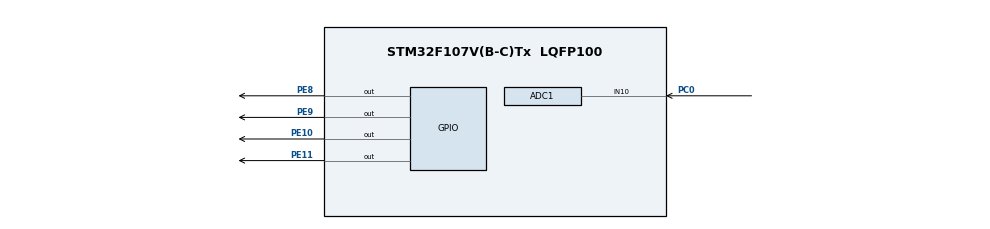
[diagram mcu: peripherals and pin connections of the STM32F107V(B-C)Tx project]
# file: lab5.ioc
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ADC1.Channel-0\#ChannelRegularConversion=ADC_CHANNEL_10
ADC1.NbrOfConversionFlag=1
ADC1.Rank-0\#ChannelRegularConversion=1
ADC1.SamplingTime-0\#ChannelRegularConversion=ADC_SAMPLETIME_1CYCLE_5
ADC1.master=1
Mcu.Family=STM32F1
Mcu.Name=STM32F107V(B-C)Tx
Mcu.Package=LQFP100
NVIC.PriorityGroup=NVIC_PRIORITYGROUP_4
OSC_IN.Mode=HSE-External-Oscillator
OSC_IN.Signal=RCC_OSC_IN
OSC_OUT.Mode=HSE-External-Oscillator
OSC_OUT.Signal=RCC_OSC_OUT
PA13.Mode=Serial_Wire
PA13.Signal=SYS_JTMS-SWDIO
PA14.Mode=Serial_Wire
PA14.Signal=SYS_JTCK-SWCLK
PC0.Signal=ADCx_IN10
PE10.Signal=GPIO_Output
PE11.Signal=GPIO_Output
PE8.Signal=GPIO_Output
PE9.Signal=GPIO_Output
ProjectManager.HeapSize=0x200
ProjectManager.StackSize=0x400
ProjectManager.TargetToolchain=MDK-ARM V5.32
RCC.USBFreq_Value=10666666.666666666
SH.ADCx_IN10.0=ADC1_IN10,IN10
board=custom

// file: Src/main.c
/* USER CODE BEGIN Header */
/**
  ******************************************************************************
  * @file           : main.c
  * @brief          : Main program body
  ******************************************************************************
  * @attention
  *
  * Copyright (c) 2022 STMicroelectronics.
  * All rights reserved.
  *
  * This software is licensed under terms that can be found in the LICENSE file
  * in the root directory of this software component.
  * If no LICENSE file comes with this software, it is provided AS-IS.
  *
  ******************************************************************************
  */
/* USER CODE END Header */
#include "main.h"

ADC_HandleTypeDef hadc1;

void SystemClock_Config(void);
static void MX_GPIO_Init(void);
static void MX_ADC1_Init(void);

int main(void)
{

  /* MCU Configuration--------------------------------------------------------*/

  /* Reset of all peripherals, Initializes the Flash interface and the Systick. */
  HAL_Init();

  /* Configure the system clock */
  SystemClock_Config();

  /* Initialize all configured peripherals */
  MX_GPIO_Init();
  MX_ADC1_Init();
  /* USER CODE BEGIN 2 */

	HAL_ADCEx_Calibration_Start(&hadc1);
	uint32_t value=0;
  /* USER CODE END 2 */

  /* Infinite loop */
  while (1)
  {

    /* USER CODE BEGIN 3 */

		HAL_ADC_Start(&hadc1);
		value=value;
		if(HAL_ADC_PollForConversion(&hadc1,1000)==HAL_OK)
		{

		value=HAL_ADC_GetValue(&hadc1);
		value/=10;

		// KARA SIMSEK

			/*
			if(value>=0x400){
			HAL_GPIO_WritePin(GPIOE,GPIO_PIN_8,GPIO_PIN_SET);
			}else HAL_GPIO_WritePin(GPIOE,GPIO_PIN_8,GPIO_PIN_RESET);
			if(value>=0x800){
			HAL_GPIO_WritePin(GPIOE,GPIO_PIN_9,GPIO_PIN_SET);
			}else HAL_GPIO_WritePin(GPIOE,GPIO_PIN_9,GPIO_PIN_RESET);
			if(value>=0xC00){
			HAL_GPIO_WritePin(GPIOE,GPIO_PIN_10,GPIO_PIN_SET);
			}else HAL_GPIO_WritePin(GPIOE,GPIO_PIN_10,GPIO_PIN_RESET);
			if(value>=0xC99){
			HAL_GPIO_WritePin(GPIOE,GPIO_PIN_11,GPIO_PIN_SET);
			}
			else HAL_GPIO_WritePin(GPIOE,GPIO_PIN_11,GPIO_PIN_RESET);

		*/

				HAL_GPIO_TogglePin(GPIOE, GPIO_PIN_8);
		HAL_Delay(value);
		HAL_GPIO_TogglePin(GPIOE, GPIO_PIN_9);
		HAL_Delay(value);
		HAL_GPIO_TogglePin(GPIOE, GPIO_PIN_10);
		HAL_Delay(value);
				HAL_GPIO_TogglePin(GPIOE, GPIO_PIN_11);
				HAL_Delay(value);
						HAL_GPIO_TogglePin(GPIOE, GPIO_PIN_8);
		HAL_Delay(value);
		HAL_GPIO_TogglePin(GPIOE, GPIO_PIN_9);
		HAL_Delay(value);
		HAL_GPIO_TogglePin(GPIOE, GPIO_PIN_10);
		HAL_Delay(value);
				HAL_GPIO_TogglePin(GPIOE, GPIO_PIN_11);
		HAL_Delay(value);
						HAL_GPIO_TogglePin(GPIOE, GPIO_PIN_11);
		HAL_Delay(value);
		HAL_GPIO_TogglePin(GPIOE, GPIO_PIN_10);
		HAL_Delay(value);
		HAL_GPIO_TogglePin(GPIOE, GPIO_PIN_9);
		HAL_Delay(value);
				HAL_GPIO_TogglePin(GPIOE, GPIO_PIN_8);
				HAL_GPIO_TogglePin(GPIOE, GPIO_PIN_11);
		HAL_Delay(value);
		HAL_GPIO_TogglePin(GPIOE, GPIO_PIN_10);
		HAL_Delay(value);
		HAL_GPIO_TogglePin(GPIOE, GPIO_PIN_9);
		HAL_Delay(value);
				HAL_GPIO_TogglePin(GPIOE, GPIO_PIN_8);
				HAL_Delay(value);

	/*
		if(value>=0x4d9){
		HAL_GPIO_WritePin(GPIOB,GPIO_PIN_10,GPIO_PIN_SET);
		}
		else HAL_GPIO_WritePin(GPIOB,GPIO_PIN_10,GPIO_PIN_RESET);
	*/

		}
    /* USER CODE END WHILE */

    /* USER CODE BEGIN 3 */
  }
	HAL_ADC_Stop(&hadc1);

  }
  /* USER CODE END 3 */

void SystemClock_Config(void)
{
  RCC_OscInitTypeDef RCC_OscInitStruct = {0};
  RCC_ClkInitTypeDef RCC_ClkInitStruct = {0};
  RCC_PeriphCLKInitTypeDef PeriphClkInit = {0};

  /** Initializes the RCC Oscillators according to the specified parameters
  * in the RCC_OscInitTypeDef structure.
  */
  RCC_OscInitStruct.OscillatorType = RCC_OSCILLATORTYPE_HSI;
  RCC_OscInitStruct.HSIState = RCC_HSI_ON;
  RCC_OscInitStruct.HSICalibrationValue = RCC_HSICALIBRATION_DEFAULT;
  RCC_OscInitStruct.PLL.PLLState = RCC_PLL_NONE;
  RCC_OscInitStruct.PLL2.PLL2State = RCC_PLL_NONE;
  if (HAL_RCC_OscConfig(&RCC_OscInitStruct) != HAL_OK)
  {
    Error_Handler();
  }
  /** Initializes the CPU, AHB and APB buses clocks
  */
  RCC_ClkInitStruct.ClockType = RCC_CLOCKTYPE_HCLK|RCC_CLOCKTYPE_SYSCLK
                              |RCC_CLOCKTYPE_PCLK1|RCC_CLOCKTYPE_PCLK2;
  RCC_ClkInitStruct.SYSCLKSource = RCC_SYSCLKSOURCE_HSI;
  RCC_ClkInitStruct.AHBCLKDivider = RCC_SYSCLK_DIV1;
  RCC_ClkInitStruct.APB1CLKDivider = RCC_HCLK_DIV1;
  RCC_ClkInitStruct.APB2CLKDivider = RCC_HCLK_DIV1;

  if (HAL_RCC_ClockConfig(&RCC_ClkInitStruct, FLASH_LATENCY_0) != HAL_OK)
  {
    Error_Handler();
  }
  PeriphClkInit.PeriphClockSelection = RCC_PERIPHCLK_ADC;
  PeriphClkInit.AdcClockSelection = RCC_ADCPCLK2_DIV2;
  if (HAL_RCCEx_PeriphCLKConfig(&PeriphClkInit) != HAL_OK)
  {
    Error_Handler();
  }
  /** Configure the Systick interrupt time
  */
  __HAL_RCC_PLLI2S_ENABLE();
}

static void MX_ADC1_Init(void)
{

  ADC_ChannelConfTypeDef sConfig = {0};

  /** Common config
  */
  hadc1.Instance = ADC1;
  hadc1.Init.ScanConvMode = ADC_SCAN_DISABLE;
  hadc1.Init.ContinuousConvMode = DISABLE;
  hadc1.Init.DiscontinuousConvMode = DISABLE;
  hadc1.Init.ExternalTrigConv = ADC_SOFTWARE_START;
  hadc1.Init.DataAlign = ADC_DATAALIGN_RIGHT;
  hadc1.Init.NbrOfConversion = 1;
  if (HAL_ADC_Init(&hadc1) != HAL_OK)
  {
    Error_Handler();
  }
  /** Configure Regular Channel
  */
  sConfig.Channel = ADC_CHANNEL_10;
  sConfig.Rank = ADC_REGULAR_RANK_1;
  sConfig.SamplingTime = ADC_SAMPLETIME_1CYCLE_5;
  if (HAL_ADC_ConfigChannel(&hadc1, &sConfig) != HAL_OK)
  {
    Error_Handler();
  }

}

static void MX_GPIO_Init(void)
{
  GPIO_InitTypeDef GPIO_InitStruct = {0};

  /* GPIO Ports Clock Enable */
  __HAL_RCC_GPIOC_CLK_ENABLE();
  __HAL_RCC_GPIOE_CLK_ENABLE();
  __HAL_RCC_GPIOA_CLK_ENABLE();

  /*Configure GPIO pin Output Level */
  HAL_GPIO_WritePin(GPIOE, GPIO_PIN_8|GPIO_PIN_9|GPIO_PIN_10|GPIO_PIN_11, GPIO_PIN_RESET);

  /*Configure GPIO pins : PE8 PE9 PE10 PE11 */
  GPIO_InitStruct.Pin = GPIO_PIN_8|GPIO_PIN_9|GPIO_PIN_10|GPIO_PIN_11;
  GPIO_InitStruct.Mode = GPIO_MODE_OUTPUT_PP;
  GPIO_InitStruct.Pull = GPIO_NOPULL;
  GPIO_InitStruct.Speed = GPIO_SPEED_FREQ_LOW;
  HAL_GPIO_Init(GPIOE, &GPIO_InitStruct);

}

void Error_Handler(void)
{
  __disable_irq();
  while (1)
  {
  }
}
